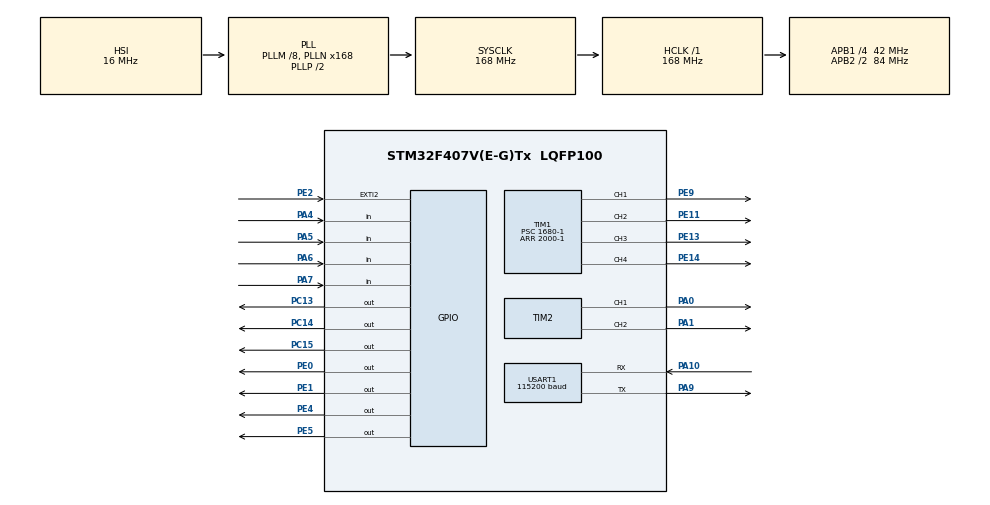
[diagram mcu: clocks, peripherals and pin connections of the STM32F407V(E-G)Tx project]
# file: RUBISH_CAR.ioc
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FREERTOS.Tasks01=defaultTask,24,128,StartDefaultTask,Default,NULL,Dynamic,NULL,NULL
Mcu.Family=STM32F4
Mcu.Name=STM32F407V(E-G)Tx
Mcu.Package=LQFP100
NVIC.PriorityGroup=NVIC_PRIORITYGROUP_4
NVIC.USART1_IRQn=true\:5\:0\:false\:false\:true\:true\:true\:true\:true
PA0-WKUP.Signal=S_TIM2_CH1_ETR
PA1.Signal=S_TIM2_CH2
PA10.Mode=Asynchronous
PA10.Signal=USART1_RX
PA13.Mode=Serial_Wire
PA13.Signal=SYS_JTMS-SWDIO
PA14.Mode=Serial_Wire
PA14.Signal=SYS_JTCK-SWCLK
PA4.GPIO_PuPd=GPIO_PULLUP
PA4.Signal=GPIO_Input
PA5.GPIO_PuPd=GPIO_PULLUP
PA5.Signal=GPIO_Input
PA6.GPIO_PuPd=GPIO_PULLUP
PA6.Signal=GPIO_Input
PA7.GPIO_PuPd=GPIO_PULLUP
PA7.Signal=GPIO_Input
PA9.Mode=Asynchronous
PA9.Signal=USART1_TX
PC13-ANTI_TAMP.Signal=GPIO_Output
PC14-OSC32_IN.Signal=GPIO_Output
PC15-OSC32_OUT.Signal=GPIO_Output
PE0.Signal=GPIO_Output
PE1.Signal=GPIO_Output
PE11.Signal=S_TIM1_CH2
PE13.Signal=S_TIM1_CH3
PE14.Signal=S_TIM1_CH4
PE2.Signal=GPXTI2
PE4.Signal=GPIO_Output
PE5.Signal=GPIO_Output
PE9.Signal=S_TIM1_CH1
PH0-OSC_IN.Mode=HSE-External-Oscillator
PH0-OSC_IN.Signal=RCC_OSC_IN
PH1-OSC_OUT.Mode=HSE-External-Oscillator
PH1-OSC_OUT.Signal=RCC_OSC_OUT
ProjectManager.HeapSize=0x200
ProjectManager.StackSize=0x400
ProjectManager.TargetToolchain=MDK-ARM V5.32
RCC.48MHZClocksFreq_Value=84000000
RCC.AHBFreq_Value=168000000
RCC.APB1CLKDivider=RCC_HCLK_DIV4
RCC.APB1Freq_Value=42000000
RCC.APB1TimFreq_Value=84000000
RCC.APB2CLKDivider=RCC_HCLK_DIV2
RCC.APB2Freq_Value=84000000
RCC.APB2TimFreq_Value=168000000
RCC.CortexFreq_Value=168000000
RCC.HCLKFreq_Value=168000000
RCC.HSE_VALUE=25000000
RCC.HSI_VALUE=16000000
RCC.LSE_VALUE=32768
RCC.PLLM=8
RCC.PLLN=168
RCC.SYSCLKFreq_VALUE=168000000
RCC.SYSCLKSource=RCC_SYSCLKSOURCE_PLLCLK
RCC.VCOOutputFreq_Value=336000000
SH.S_TIM1_CH1.0=TIM1_CH1,PWM Generation1 CH1
SH.S_TIM1_CH2.0=TIM1_CH2,PWM Generation2 CH2
SH.S_TIM1_CH3.0=TIM1_CH3,PWM Generation3 CH3
SH.S_TIM1_CH4.0=TIM1_CH4,PWM Generation4 CH4
SH.S_TIM2_CH1_ETR.0=TIM2_CH1,PWM Generation1 CH1
SH.S_TIM2_CH2.0=TIM2_CH2,PWM Generation2 CH2
TIM1.Channel-PWM\ Generation1\ CH1=TIM_CHANNEL_1
TIM1.Channel-PWM\ Generation2\ CH2=TIM_CHANNEL_2
TIM1.Channel-PWM\ Generation3\ CH3=TIM_CHANNEL_3
TIM1.Channel-PWM\ Generation4\ CH4=TIM_CHANNEL_4
TIM1.Period=2000-1
TIM1.Prescaler=1680-1
TIM2.Channel-PWM\ Generation1\ CH1=TIM_CHANNEL_1
TIM2.Channel-PWM\ Generation2\ CH2=TIM_CHANNEL_2
USART1.BaudRate=115200
USART1.VirtualMode=VM_ASYNC
VP_FREERTOS_VS_CMSIS_V2.Mode=CMSIS_V2
board=custom

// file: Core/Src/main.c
/* USER CODE BEGIN Header */
/**
  ******************************************************************************
  * @file           : main.c
  * @brief          : Main program body
  ******************************************************************************
  * @attention
  *
  * Copyright (c) 2024 STMicroelectronics.
  * All rights reserved.
  *
  * This software is licensed under terms that can be found in the LICENSE file
  * in the root directory of this software component.
  * If no LICENSE file comes with this software, it is provided AS-IS.
  *
  ******************************************************************************
  */
/* USER CODE END Header */
#include "main.h"
#include "cmsis_os.h"
#include "tim.h"
#include "usart.h"
#include "gpio.h"

/* USER CODE BEGIN Includes */
 #include "Invert_Garbage_Task.h"
 #include "FreeRTOS.h"
 #include "Usart_Task.h"

 #include "Conveyor_Bj_Task.h"
/* USER CODE END Includes */

/* USER CODE BEGIN PTD */
extern uint8_t rv_Camera[4];
extern uint8_t tr_st[5];
extern uint8_t drp[4];
extern int singles;

//uint8_t aa[5]={1,0,0,0,0};

/* USER CODE END PTD */

void SystemClock_Config(void);
void MX_FREERTOS_Init(void);

int main(void)
{

  /* MCU Configuration--------------------------------------------------------*/

  /* Reset of all peripherals, Initializes the Flash interface and the Systick. */
  HAL_Init();

  /* Configure the system clock */
  SystemClock_Config();

  /* Initialize all configured peripherals */
  MX_GPIO_Init();
  MX_TIM1_Init();
  MX_USART1_UART_Init();
  MX_TIM2_Init();
  /* USER CODE BEGIN 2 */
  HAL_UART_Receive_IT(&huart1, rv_Camera, 4);
  UART_Start_Receive_IT(&huart1,rv_Camera,4);
	HAL_UART_Transmit_IT(&huart1, tr_st, 5);
	HAL_TIM_PWM_Start(&htim1,TIM_CHANNEL_1);
	HAL_TIM_PWM_Start(&htim1,TIM_CHANNEL_2);
	HAL_TIM_PWM_Start(&htim1,TIM_CHANNEL_3);
	HAL_TIM_PWM_Start(&htim2,TIM_CHANNEL_1);
	HAL_TIM_PWM_Start(&htim2,TIM_CHANNEL_2);
	__HAL_TIM_SET_COMPARE(&htim1,TIM_CHANNEL_1,155);
	__HAL_TIM_SET_COMPARE(&htim1,TIM_CHANNEL_2,150);
	__HAL_TIM_SET_COMPARE(&htim2,TIM_CHANNEL_1,200);

  /* USER CODE END 2 */

  /* Init scheduler */
  osKernelInitialize();

  /* Call init function for freertos objects (in cmsis_os2.c) */
  MX_FREERTOS_Init();

  /* Start scheduler */
  osKernelStart();

  /* We should never get here as control is now taken by the scheduler */

  /* Infinite loop */
  while (1)
  {

  }
}

void SystemClock_Config(void)
{
  RCC_OscInitTypeDef RCC_OscInitStruct = {0};
  RCC_ClkInitTypeDef RCC_ClkInitStruct = {0};

  /** Configure the main internal regulator output voltage
  */
  __HAL_RCC_PWR_CLK_ENABLE();
  __HAL_PWR_VOLTAGESCALING_CONFIG(PWR_REGULATOR_VOLTAGE_SCALE1);

  /** Initializes the RCC Oscillators according to the specified parameters
  * in the RCC_OscInitTypeDef structure.
  */
  RCC_OscInitStruct.OscillatorType = RCC_OSCILLATORTYPE_HSI;
  RCC_OscInitStruct.HSIState = RCC_HSI_ON;
  RCC_OscInitStruct.HSICalibrationValue = RCC_HSICALIBRATION_DEFAULT;
  RCC_OscInitStruct.PLL.PLLState = RCC_PLL_ON;
  RCC_OscInitStruct.PLL.PLLSource = RCC_PLLSOURCE_HSI;
  RCC_OscInitStruct.PLL.PLLM = 8;
  RCC_OscInitStruct.PLL.PLLN = 168;
  RCC_OscInitStruct.PLL.PLLP = RCC_PLLP_DIV2;
  RCC_OscInitStruct.PLL.PLLQ = 4;
  if (HAL_RCC_OscConfig(&RCC_OscInitStruct) != HAL_OK)
  {
    Error_Handler();
  }

  /** Initializes the CPU, AHB and APB buses clocks
  */
  RCC_ClkInitStruct.ClockType = RCC_CLOCKTYPE_HCLK|RCC_CLOCKTYPE_SYSCLK
                              |RCC_CLOCKTYPE_PCLK1|RCC_CLOCKTYPE_PCLK2;
  RCC_ClkInitStruct.SYSCLKSource = RCC_SYSCLKSOURCE_PLLCLK;
  RCC_ClkInitStruct.AHBCLKDivider = RCC_SYSCLK_DIV1;
  RCC_ClkInitStruct.APB1CLKDivider = RCC_HCLK_DIV4;
  RCC_ClkInitStruct.APB2CLKDivider = RCC_HCLK_DIV2;

  if (HAL_RCC_ClockConfig(&RCC_ClkInitStruct, FLASH_LATENCY_5) != HAL_OK)
  {
    Error_Handler();
  }
}

void Error_Handler(void)
{
  __disable_irq();
  while (1)
  {
  }
}

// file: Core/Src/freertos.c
/* USER CODE BEGIN Header */
/**
  ******************************************************************************
  * File Name          : freertos.c
  * Description        : Code for freertos applications
  ******************************************************************************
  * @attention
  *
  * Copyright (c) 2024 STMicroelectronics.
  * All rights reserved.
  *
  * This software is licensed under terms that can be found in the LICENSE file
  * in the root directory of this software component.
  * If no LICENSE file comes with this software, it is provided AS-IS.
  *
  ******************************************************************************
  */
/* USER CODE END Header */

#include "FreeRTOS.h"
#include "task.h"
#include "main.h"
#include "cmsis_os.h"

/* USER CODE BEGIN Includes */
#include "bj_motor.h"
#include "Usart_Task.h"
#include "Invert_Garbage_Task.h"
#include "Conveyor_Bj_Task.h"
#include "Drp_Task.h"

/* USER CODE END Includes */

/* Definitions for defaultTask */
osThreadId_t defaultTaskHandle;
const osThreadAttr_t defaultTask_attributes = {
  .name = "defaultTask",
  .stack_size = 128 * 4,
  .priority = (osPriority_t) osPriorityNormal,
};

/* USER CODE BEGIN FunctionPrototypes */
osThreadId_t Conveyor_TaskHandle;
const osThreadAttr_t Conveyor_task_attributes = {
  .name = "Conveyor_Task",
  .stack_size = 128 * 4,
  .priority = (osPriority_t) osPriorityNormal3,
};

osThreadId_t Invert_taskHandle;
const osThreadAttr_t Invert_task_attributes = {
  .name = "Invert_task",
  .stack_size = 128 * 4,
  .priority = (osPriority_t) osPriorityNormal7,
};

osThreadId_t Panel_Dj_TaskHandle;
const osThreadAttr_t Panel_Dj_Task_attributes = {
  .name = "Panel_Dj_Task",
  .stack_size = 128 * 4,
  .priority = (osPriority_t) osPriorityNormal5,
};

osThreadId_t Drp_TaskHandle;
const osThreadAttr_t Drp_Task_attributes = {
  .name = "Drp_Task",
  .stack_size = 128 * 4,
  .priority = (osPriority_t) osPriorityNormal4,
};

osThreadId_t tr_Full_TaskHandle;
const osThreadAttr_t tr_Full_Task_attributes = {
  .name = "tr_Full_Task",
  .stack_size = 128 * 4,
  .priority = (osPriority_t) osPriorityNormal6,
};
/* USER CODE END FunctionPrototypes */

void StartDefaultTask(void *argument);

void MX_FREERTOS_Init(void); /* (MISRA C 2004 rule 8.1) */

void MX_FREERTOS_Init(void) {

  /* Create the thread(s) */
  /* creation of defaultTask */
  defaultTaskHandle = osThreadNew(StartDefaultTask, NULL, &defaultTask_attributes);

  /* USER CODE BEGIN RTOS_THREADS */
	Conveyor_TaskHandle= osThreadNew(Conveyor_Task,NULL,&Conveyor_task_attributes);
	Invert_taskHandle= osThreadNew(Invert_task,NULL,&Invert_task_attributes);
	Panel_Dj_TaskHandle= osThreadNew(Panel_Dj_Task,NULL,&Panel_Dj_Task_attributes);
	Drp_TaskHandle= osThreadNew(Drp_Task,NULL,&Drp_Task_attributes);
	tr_Full_TaskHandle= osThreadNew(tr_Full_Task,NULL,&tr_Full_Task_attributes);
  /* add threads, ... */
  /* USER CODE END RTOS_THREADS */

}

void StartDefaultTask(void *argument)
{
  for(;;)
  {
    osDelay(1);
  }
}
